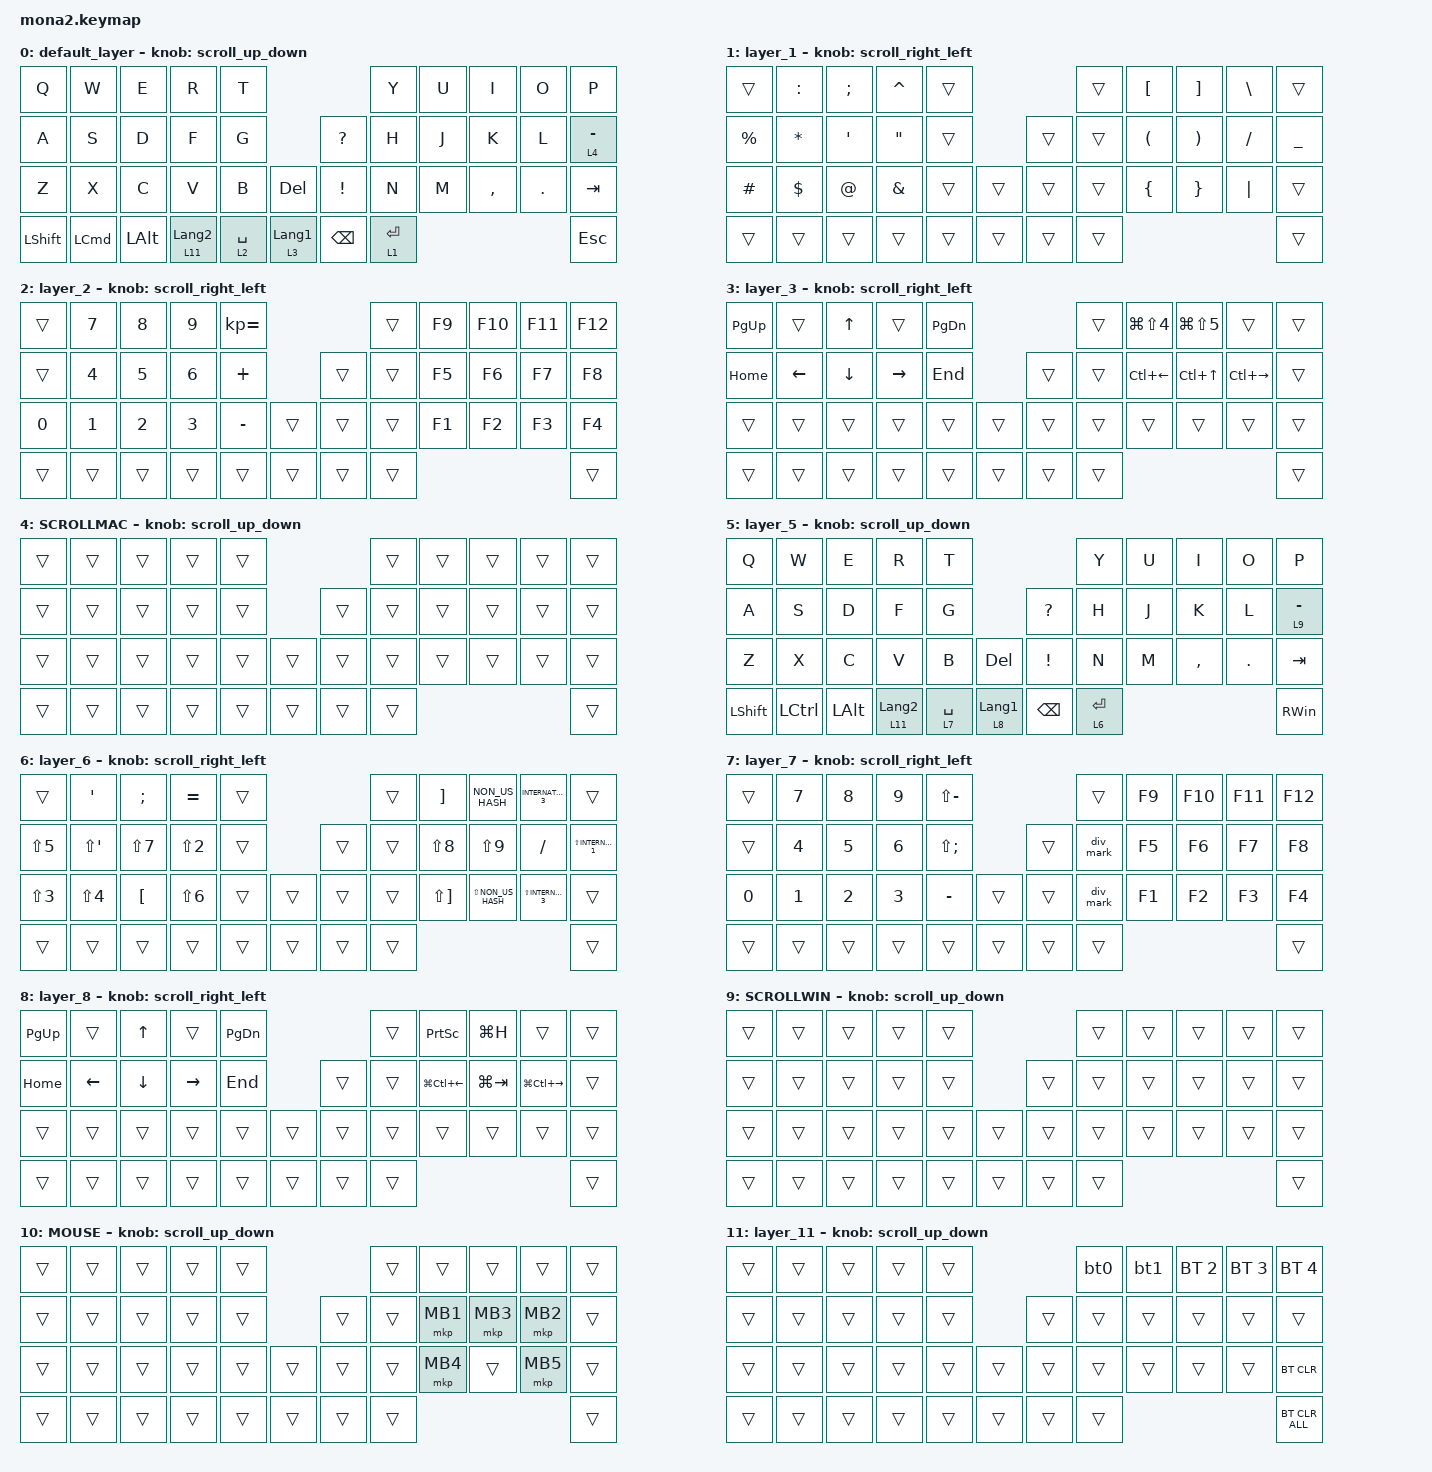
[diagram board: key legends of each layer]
#include <input/processors.dtsi>
#include <dt-bindings/zmk/input_transform.h>
#include <zephyr/dt-bindings/input/input-event-codes.h>
#include <behaviors.dtsi>
#include <dt-bindings/zmk/bt.h>
#include <dt-bindings/zmk/keys.h>
#include <dt-bindings/zmk/pointing.h>

#define ZMK_POINTING_DEFAULT_SCRL_VAL 100
#define MOUSE 5
#define SCROLL 6

&mt {
    flavor = "balanced";
    quick-tap-ms = <0>;
};

&lt {
    quick-tap-ms = <300>;
    flavor = "balanced";
};

/ {
    combos { compatible = "zmk,combos"; };

    macros {
        bt0: to_layer_0 {
            compatible = "zmk,behavior-macro";
            #binding-cells = <0>;
            bindings =
                <&tog_off 5>,
                <&macro_wait_time 200>,
                <&bt BT_SEL 0>,
                <&macro_wait_time 500>;

            label = "TO_LAYER_0";
        };

        bt1: bt3 {
            compatible = "zmk,behavior-macro";
            #binding-cells = <0>;
            bindings =
                <&tog_off 5>,
                <&macro_wait_time 200>,
                <&bt BT_SEL 1>,
                <&macro_wait_time 500>,
                <&tog_on 5>;

            label = "BT3";
        };

        mul_mark: mul_mark {
            compatible = "zmk,behavior-macro";
            #binding-cells = <0>;
            bindings =
                <&kp LALT>,
                <&macro_press>,
                <&kp N0 &kp N2 &kp N1 &kp N5>,
                <&macro_press>,
                <&kp LALT>;

            label = "MUL_MARK";
        };

        div_mark: div_mark {
            compatible = "zmk,behavior-macro";
            #binding-cells = <0>;
            bindings =
                <&kp LALT>,
                <&macro_press>,
                <&kp N0 &kp N2 &kp N4 &kp N7>,
                <&macro_press>,
                <&kp LALT>;

            label = "DIV_MARK";
        };
    };

    behaviors {
        lt_to_layer_0: lt_to_layer_0 {
            compatible = "zmk,behavior-hold-tap";
            label = "LAYER_TAP_TO_0";
            bindings = <&mo>, <&bt0>;

            #binding-cells = <2>;
            tapping-term-ms = <200>;
        };

        scroll_up_down: mouse_wheel_up_down {
            compatible = "zmk,behavior-sensor-rotate";
            #sensor-binding-cells = <0>;
            bindings = <&msc SCRL_UP>, <&msc SCRL_DOWN>;

            tap-ms = <20>;
        };

        tog_on: toggle_layer_on_only {
            compatible = "zmk,behavior-toggle-layer";
            #binding-cells = <1>;
            display-name = "Toggle Layer On";
            toggle-mode = "on";
        };

        tog_off: toggle_layer_off_only {
            compatible = "zmk,behavior-toggle-layer";
            #binding-cells = <1>;
            display-name = "Toggle Layer Off";
            toggle-mode = "off";
        };

        scroll_right_left: mouse_wheel_right_left {
            compatible = "zmk,behavior-sensor-rotate";
            #sensor-binding-cells = <0>;
            bindings = <&msc SCRL_LEFT>, <&msc SCRL_RIGHT>;

            tap-ms = <100>;
        };
    };

    keymap {
        compatible = "zmk,keymap";

        default_layer {
            bindings = <
&kp Q           &kp W             &kp E         &kp R              &kp T                                             &kp Y      &kp U  &kp I      &kp O    &kp P
&kp A           &kp S             &kp D         &kp F              &kp G                            &kp QUESTION     &kp H      &kp J  &kp K      &kp L    &lt 4 MINUS
&kp Z           &kp X             &kp C         &kp V              &kp B        &kp DEL             &kp EXCLAMATION  &kp N      &kp M  &kp COMMA  &kp DOT  &kp TAB
&kp LEFT_SHIFT  &kp LEFT_COMMAND  &kp LEFT_ALT  &lt 11 LANGUAGE_2  &lt 2 SPACE  &lt 3 LANGUAGE_1    &kp BACKSPACE    &lt 1 RET                             &kp ESCAPE
            >;

            sensor-bindings = <&scroll_up_down>;
        };

        layer_1 {
            bindings = <
&trans       &kp COLON     &kp SEMICOLON  &kp CARET          &trans                    &trans  &kp LEFT_BRACKET      &kp RIGHT_BRACKET      &kp BACKSLASH  &trans
&kp PERCENT  &kp ASTERISK  &kp SQT        &kp DOUBLE_QUOTES  &trans            &trans  &trans  &kp LEFT_PARENTHESIS  &kp RIGHT_PARENTHESIS  &kp SLASH      &kp UNDERSCORE
&kp HASH     &kp DOLLAR    &kp AT_SIGN    &kp AMPERSAND      &trans  &trans    &trans  &trans  &kp LEFT_BRACE        &kp RIGHT_BRACE        &kp PIPE       &trans
&trans       &trans        &trans         &trans             &trans  &trans    &trans  &trans                                                              &trans
            >;

            sensor-bindings = <&scroll_right_left>;
        };

        layer_2 {
            bindings = <
&trans        &kp NUMBER_7  &kp NUMBER_8  &kp NUMBER_9  &kp KP_EQUAL                    &trans  &kp F9  &kp F10  &kp F11  &kp F12
&trans        &kp NUMBER_4  &kp NUMBER_5  &kp NUMBER_6  &kp PLUS                &trans  &trans  &kp F5  &kp F6   &kp F7   &kp F8
&kp NUMBER_0  &kp NUMBER_1  &kp NUMBER_2  &kp NUMBER_3  &kp MINUS     &trans    &trans  &trans  &kp F1  &kp F2   &kp F3   &kp F4
&trans        &trans        &trans        &trans        &trans        &trans    &trans  &trans                            &trans
            >;

            sensor-bindings = <&scroll_right_left>;
        };

        layer_3 {
            bindings = <
&kp PG_UP  &trans          &kp UP_ARROW    &trans           &kp PAGE_DOWN                    &trans  &kp LG(LS(NUMBER_4))  &kp LG(LS(NUMBER_5))  &trans               &trans
&kp HOME   &kp LEFT_ARROW  &kp DOWN_ARROW  &kp RIGHT_ARROW  &kp END                  &trans  &trans  &kp LC(LEFT_ARROW)    &kp LC(UP_ARROW)      &kp LC(RIGHT_ARROW)  &trans
&trans     &trans          &trans          &trans           &trans         &trans    &trans  &trans  &trans                &trans                &trans               &trans
&trans     &trans          &trans          &trans           &trans         &trans    &trans  &trans                                                                   &trans
            >;

            sensor-bindings = <&scroll_right_left>;
        };

        SCROLLMAC {
            bindings = <
&trans  &trans  &trans  &trans  &trans                    &trans  &trans  &trans  &trans  &trans
&trans  &trans  &trans  &trans  &trans            &trans  &trans  &trans  &trans  &trans  &trans
&trans  &trans  &trans  &trans  &trans  &trans    &trans  &trans  &trans  &trans  &trans  &trans
&trans  &trans  &trans  &trans  &trans  &trans    &trans  &trans                          &trans
            >;

            sensor-bindings = <&scroll_up_down>;
        };

        layer_5 {
            bindings = <
&kp Q           &kp W             &kp E         &kp R              &kp T                                             &kp Y      &kp U  &kp I      &kp O    &kp P
&kp A           &kp S             &kp D         &kp F              &kp G                            &kp QUESTION     &kp H      &kp J  &kp K      &kp L    &lt 9 MINUS
&kp Z           &kp X             &kp C         &kp V              &kp B        &kp DEL             &kp EXCLAMATION  &kp N      &kp M  &kp COMMA  &kp DOT  &kp TAB
&kp LEFT_SHIFT  &kp LEFT_CONTROL  &kp LEFT_ALT  &lt 11 LANGUAGE_2  &lt 7 SPACE  &lt 8 LANGUAGE_1    &kp BACKSPACE    &lt 6 RET                             &kp RIGHT_WIN
            >;

            sensor-bindings = <&scroll_up_down>; 
        };

        layer_6 {
            bindings = <
&trans            &kp SQT      &kp SEMI    &kp EQUAL   &trans                    &trans  &kp RIGHT_BRACKET      &kp NON_US_HASH      &kp INTERNATIONAL_3      &trans
&kp LS(NUMBER_5)  &kp LS(SQT)  &kp LS(N7)  &kp LS(N2)  &trans            &trans  &trans  &kp LS(N8)             &kp LS(N9)           &kp SLASH                &kp LS(INTERNATIONAL_1)
&kp LS(N3)        &kp LS(N4)   &kp LBKT    &kp LS(N6)  &trans  &trans    &trans  &trans  &kp LS(RIGHT_BRACKET)  &kp LS(NON_US_HASH)  &kp LS(INTERNATIONAL_3)  &trans
&trans            &trans       &trans      &trans      &trans  &trans    &trans  &trans                                                                       &trans
            >;

            sensor-bindings = <&scroll_right_left>;
        };

        layer_7 {
            bindings = <
&trans  &kp N7  &kp N8  &kp N9  &kp LS(MINUS)                        &trans     &kp F9  &kp F10  &kp F11  &kp F12
&trans  &kp N4  &kp N5  &kp N6  &kp LS(SEMICOLON)            &trans  &div_mark  &kp F5  &kp F6   &kp F7   &kp F8
&kp N0  &kp N1  &kp N2  &kp N3  &kp MINUS          &trans    &trans  &div_mark  &kp F1  &kp F2   &kp F3   &kp F4
&trans  &trans  &trans  &trans  &trans             &trans    &trans  &trans                               &trans
            >;

            sensor-bindings = <&scroll_right_left>;
        };

        layer_8 {
            bindings = <
&kp PG_UP  &trans          &kp UP_ARROW    &trans           &kp PAGE_DOWN                    &trans  &kp PRINTSCREEN         &kp LG(H)    &trans                   &trans
&kp HOME   &kp LEFT_ARROW  &kp DOWN_ARROW  &kp RIGHT_ARROW  &kp END                  &trans  &trans  &kp LG(LC(LEFT_ARROW))  &kp LG(TAB)  &kp LG(LC(RIGHT_ARROW))  &trans
&trans     &trans          &trans          &trans           &trans         &trans    &trans  &trans  &trans                  &trans       &trans                   &trans
&trans     &trans          &trans          &trans           &trans         &trans    &trans  &trans                                                                &trans
            >;

            sensor-bindings = <&scroll_right_left>;
        };

        SCROLLWIN {
            bindings = <
&trans  &trans  &trans  &trans  &trans                    &trans  &trans  &trans  &trans  &trans
&trans  &trans  &trans  &trans  &trans            &trans  &trans  &trans  &trans  &trans  &trans
&trans  &trans  &trans  &trans  &trans  &trans    &trans  &trans  &trans  &trans  &trans  &trans
&trans  &trans  &trans  &trans  &trans  &trans    &trans  &trans                          &trans
            >;

            sensor-bindings = <&scroll_up_down>;
        };

        MOUSE {
            bindings = <
&trans  &trans  &trans  &trans  &trans                    &trans  &trans    &trans    &trans    &trans
&trans  &trans  &trans  &trans  &trans            &trans  &trans  &mkp MB1  &mkp MB3  &mkp MB2  &trans
&trans  &trans  &trans  &trans  &trans  &trans    &trans  &trans  &mkp MB4  &trans    &mkp MB5  &trans
&trans  &trans  &trans  &trans  &trans  &trans    &trans  &trans                                &trans
            >;

            sensor-bindings = <&scroll_up_down>;
        };

        layer_11 {
            bindings = <
&trans  &trans  &trans  &trans  &trans                    &bt0    &bt1    &bt BT_SEL 2  &bt BT_SEL 3  &bt BT_SEL 4
&trans  &trans  &trans  &trans  &trans            &trans  &trans  &trans  &trans        &trans        &trans
&trans  &trans  &trans  &trans  &trans  &trans    &trans  &trans  &trans  &trans        &trans        &bt BT_CLR
&trans  &trans  &trans  &trans  &trans  &trans    &trans  &trans                                      &bt BT_CLR_ALL
            >;

            sensor-bindings = <&scroll_up_down>;
        };
    };
};
